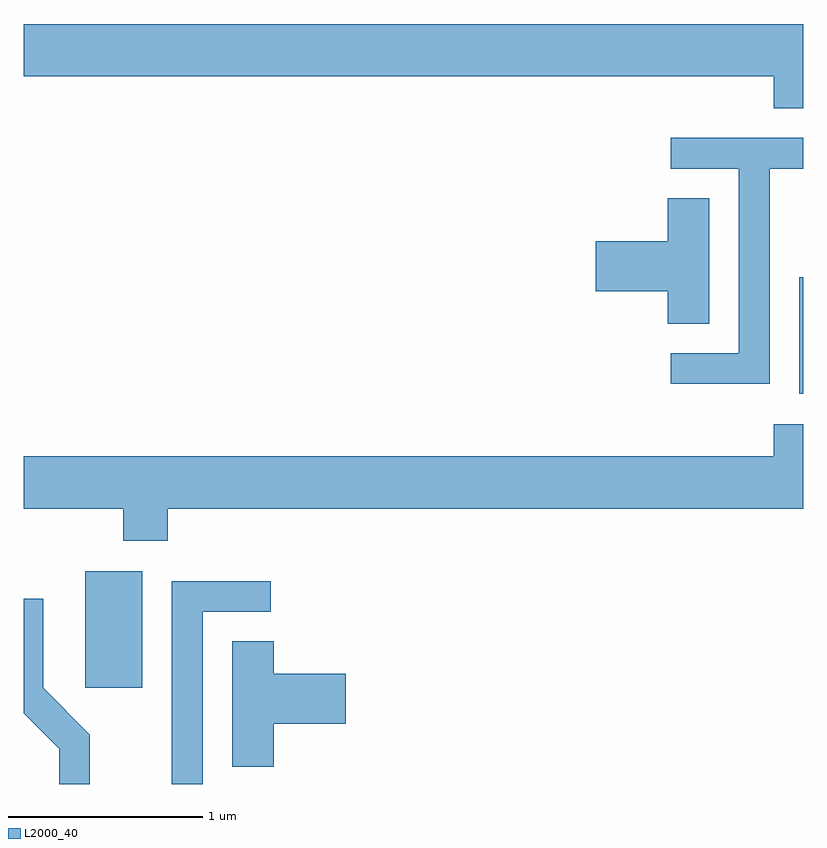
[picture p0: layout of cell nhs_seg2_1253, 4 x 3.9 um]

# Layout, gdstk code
import gdstk
lib = gdstk.Library(unit=1e-6, precision=1e-09)
def R(c, l, rs):  # rectangles x0, y0, x1, y1
    for r in rs: c.add(gdstk.rectangle(r[:2], r[2:], *l))
def P(c, l, *ps):  # polygons
    for p in ps: c.add(gdstk.Polygon(p, *l))
L2000_40 = (2000, 40)

nhs_seg2_1253 = lib.new_cell('nhs_seg2_1253')
R(nhs_seg2_1253, L2000_40, [(221.926,1036.296,222.219,1036.894), (225.591,1037.806,225.611,1038.404)])
P(nhs_seg2_1253, L2000_40, [(225.611,1039.704),(221.611,1039.704),(221.611,1039.436),(225.461,1039.436),(225.461,1039.271),(225.611,1039.271)],
  [(225.439,1038.961),(225.611,1038.961),(225.611,1039.119),(224.933,1039.119),(224.933,1038.961),(225.281,1038.961),(225.281,1038.014),(224.933,1038.014),(224.933,1037.856),(225.439,1037.856)],
  [(225.129,1038.809),(224.916,1038.809),(224.916,1038.589),(224.546,1038.589),(224.546,1038.331),(224.916,1038.331),(224.916,1038.166),(225.129,1038.166)],
  [(221.611,1037.216),(222.121,1037.216),(222.121,1037.051),(222.349,1037.051),(222.349,1037.216),(225.611,1037.216),(225.611,1037.649),(225.461,1037.649),(225.461,1037.484),(221.611,1037.484)],
  [(222.529,1036.686),(222.878,1036.686),(222.878,1036.844),(222.371,1036.844),(222.371,1035.802),(222.529,1035.802)],
  [(221.949,1036.056),(221.709,1036.296),(221.709,1036.753),(221.611,1036.753),(221.611,1036.164),(221.791,1035.984),(221.791,1035.802),(221.949,1035.802)],
  [(222.894,1036.111),(223.264,1036.111),(223.264,1036.369),(222.894,1036.369),(222.894,1036.534),(222.681,1036.534),(222.681,1035.891),(222.894,1035.891)])

lib.write_gds('nhs_seg2_1253.gds')
